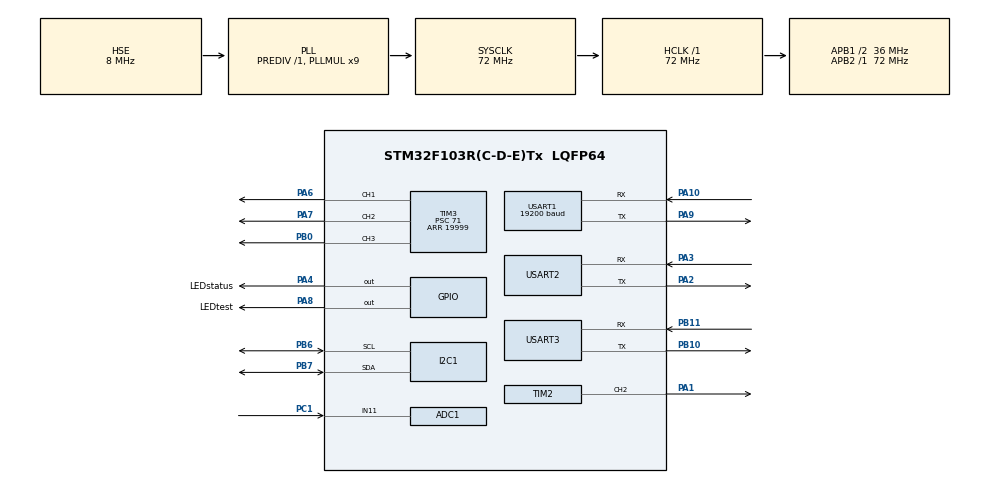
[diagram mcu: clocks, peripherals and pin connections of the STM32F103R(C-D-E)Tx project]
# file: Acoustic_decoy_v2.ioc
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ADC1.Channel-3\#ChannelRegularConversion=ADC_CHANNEL_11
ADC1.ExternalTrigConv=ADC_EXTERNALTRIGCONV_T3_TRGO
ADC1.NbrOfConversionFlag=1
ADC1.Rank-3\#ChannelRegularConversion=1
ADC1.SamplingTime-3\#ChannelRegularConversion=ADC_SAMPLETIME_55CYCLES_5
ADC1.master=1
Dma.Request0=USART2_RX
Dma.USART2_RX.0.Direction=DMA_PERIPH_TO_MEMORY
Dma.USART2_RX.0.Instance=DMA1_Channel6
Dma.USART2_RX.0.MemDataAlignment=DMA_MDATAALIGN_BYTE
Dma.USART2_RX.0.MemInc=DMA_MINC_ENABLE
Dma.USART2_RX.0.Mode=DMA_NORMAL
Dma.USART2_RX.0.PeriphDataAlignment=DMA_PDATAALIGN_BYTE
Dma.USART2_RX.0.PeriphInc=DMA_PINC_DISABLE
Dma.USART2_RX.0.Priority=DMA_PRIORITY_VERY_HIGH
Mcu.Family=STM32F1
Mcu.Name=STM32F103R(C-D-E)Tx
Mcu.Package=LQFP64
NVIC.ADC1_2_IRQn=true\:1\:0\:true\:false\:true\:true\:true\:true
NVIC.DMA1_Channel6_IRQn=true\:6\:0\:true\:false\:true\:false\:true\:true
NVIC.PriorityGroup=NVIC_PRIORITYGROUP_4
NVIC.TIM4_IRQn=true\:15\:0\:false\:false\:true\:false\:true\:true
NVIC.TIM5_IRQn=true\:7\:0\:true\:false\:true\:true\:true\:true
NVIC.TimeBase=TIM4_IRQn
NVIC.TimeBaseIP=TIM4
NVIC.USART1_IRQn=true\:6\:0\:true\:false\:true\:true\:true\:true
NVIC.USART2_IRQn=true\:6\:0\:true\:false\:true\:true\:true\:true
NVIC.USART3_IRQn=true\:0\:0\:true\:false\:true\:true\:true\:true
PA1.Signal=S_TIM2_CH2
PA10.Mode=Asynchronous
PA10.Signal=USART1_RX
PA13.Mode=Serial_Wire
PA13.Signal=SYS_JTMS-SWDIO
PA14.Mode=Serial_Wire
PA14.Signal=SYS_JTCK-SWCLK
PA2.Mode=Asynchronous
PA2.Signal=USART2_TX
PA3.Mode=Asynchronous
PA3.Signal=USART2_RX
PA4.GPIO_Label=LEDstatus
PA4.GPIO_ModeDefaultOutputPP=GPIO_MODE_OUTPUT_PP
PA4.PinState=GPIO_PIN_RESET
PA4.Signal=GPIO_Output
PA6.Signal=S_TIM3_CH1
PA7.Signal=S_TIM3_CH2
PA8.GPIO_Label=LEDtest
PA8.Signal=GPIO_Output
PA9.Mode=Asynchronous
PA9.Signal=USART1_TX
PB0.Signal=S_TIM3_CH3
PB10.Mode=Asynchronous
PB10.Signal=USART3_TX
PB11.Mode=Asynchronous
PB11.Signal=USART3_RX
PB6.Mode=I2C
PB6.Signal=I2C1_SCL
PB7.Mode=I2C
PB7.Signal=I2C1_SDA
PC1.Signal=ADCx_IN11
PD0-OSC_IN.Mode=HSE-External-Oscillator
PD0-OSC_IN.Signal=RCC_OSC_IN
PD1-OSC_OUT.Mode=HSE-External-Oscillator
PD1-OSC_OUT.Signal=RCC_OSC_OUT
ProjectManager.HeapSize=0x200
ProjectManager.StackSize=0x400
ProjectManager.TargetToolchain=CMake
RCC.ADCPresc=RCC_ADCPCLK2_DIV6
RCC.AHBFreq_Value=72000000
RCC.APB1CLKDivider=RCC_HCLK_DIV2
RCC.APB1Freq_Value=36000000
RCC.APB1TimFreq_Value=72000000
RCC.APB2Freq_Value=72000000
RCC.APB2TimFreq_Value=72000000
RCC.HCLKFreq_Value=72000000
RCC.PLLMUL=RCC_PLL_MUL9
RCC.PLLSourceVirtual=RCC_PLLSOURCE_HSE
RCC.SYSCLKFreq_VALUE=72000000
RCC.SYSCLKSource=RCC_SYSCLKSOURCE_PLLCLK
RCC.USBFreq_Value=72000000
SH.ADCx_IN11.0=ADC1_IN11,IN11
SH.S_TIM2_CH2.0=TIM2_CH2,PWM Generation2 CH2
SH.S_TIM3_CH1.0=TIM3_CH1,PWM Generation1 CH1
SH.S_TIM3_CH2.0=TIM3_CH2,PWM Generation2 CH2
SH.S_TIM3_CH3.0=TIM3_CH3,PWM Generation3 CH3
TIM2.Channel-PWM\ Generation2\ CH2=TIM_CHANNEL_2
TIM2.Period=19999
TIM2.Prescaler=71
TIM3.Channel-PWM\ Generation1\ CH1=TIM_CHANNEL_1
TIM3.Channel-PWM\ Generation2\ CH2=TIM_CHANNEL_2
TIM3.Channel-PWM\ Generation3\ CH3=TIM_CHANNEL_3
TIM3.Period=19999
TIM3.Prescaler=71
TIM3.TIM_MasterOutputTrigger=TIM_TRGO_UPDATE
TIM5.AutoReloadPreload=TIM_AUTORELOAD_PRELOAD_ENABLE
TIM5.Channel-Output\ Compare1\ No\ Output=TIM_CHANNEL_1
TIM5.Prescaler=71
USART1.BaudRate=19200
USART1.VirtualMode=VM_ASYNC
USART2.VirtualMode=VM_ASYNC
USART3.VirtualMode=VM_ASYNC
VP_SYS_VS_tim4.Mode=TIM4
VP_TIM2_VS_ClockSourceINT.Mode=Internal
VP_TIM3_VS_ClockSourceINT.Mode=Internal
VP_TIM5_VS_no_output1.Mode=Output Compare1 No Output
board=custom

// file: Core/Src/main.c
/* USER CODE BEGIN Header */
/**
  ******************************************************************************
  * @file           : main.c
  * @brief          : Main program body
  ******************************************************************************
  * @attention
  *
  * Copyright (c) 2025 STMicroelectronics.
  * All rights reserved.
  *
  * This software is licensed under terms that can be found in the LICENSE file
  * in the root directory of this software component.
  * If no LICENSE file comes with this software, it is provided AS-IS.
  *
  ******************************************************************************
  */
/* USER CODE END Header */
#include "main.h"
#include "adc.h"
#include "dma.h"
#include "i2c.h"
#include "tim.h"
#include "usart.h"
#include "gpio.h"

/* USER CODE BEGIN Includes */
#include "im948_CMD.h"
#include "bsp_usart.h"
#include <stdint.h>
#include <stdio.h>
#include "bsp_io.h"
#include "baro_adc.h"
#include "valve_ctrl.h"
#include "control_config.h"

// FreeRTOS Includes
#include "FreeRTOS.h"
#include "task.h"
#include "control_tasks.h"
// Control framework
#include "control_loop.h"
/* USER CODE END Includes */

/* USER CODE BEGIN PV */
volatile uint8_t g_control_loop_enabled = 1; // 控制循环使能标志，默认开启
extern volatile uint32_t ulHighFrequencyTimerTicks;
/* USER CODE END PV */

void SystemClock_Config(void);

int main(void)
{

  /* MCU Configuration--------------------------------------------------------*/

  /* Reset of all peripherals, Initializes the Flash interface and the Systick. */
  HAL_Init();

  /* Configure the system clock */
  SystemClock_Config();

  /* Initialize all configured peripherals */
  MX_GPIO_Init();
  MX_DMA_Init();
  MX_TIM2_Init();
  MX_USART1_UART_Init();
  MX_USART2_UART_Init();
  MX_USART3_UART_Init();
  MX_TIM3_Init();
  MX_I2C1_Init();
  MX_ADC1_Init();
  MX_TIM5_Init();
  /* USER CODE BEGIN 2 */

  printf("Acoustic Decoy Initializing . . .\r\n");

  // 初始化传感器与电机控制的运行期默认值
  SensorSystem_Init();

  // //打开串口中断接收，UART3空置，用于后续扩展与linux上位机通讯
  HAL_UART_Receive_IT(&huart1, &rx_byte_debug, 1); //Debug PA9,PA10
  // // HAL_UART_Receive_IT(&huart3, &uart3_rx_byte, 1);// 空置串口3 PB10,PB11
  HAL_TIM_PWM_Start(&htim3, TIM_CHANNEL_3); // 启动PWM输出 TIM3_CH3 PB0 power
  HAL_TIM_PWM_Start(&htim3, TIM_CHANNEL_1); // 启动PWM输出 TIM3_CH1 PA6 fairing release
  HAL_TIM_PWM_Start(&htim3, TIM_CHANNEL_2); // 启动PWM输出 TIM3_CH2 PA7 valve control

  // // 启动气压 ADC 外部触发采样（TIM3 TRGO）
  BaroADC_Init(&hadc1);

  // 延时一下让传感器上电准备完毕
  HAL_Delay(1000); // 延时1秒

  power_on(); // 打开电源 12V
  MS5837_SetFluidDensity(&MS5837_info_t, 1000.0f); // 设置海水密度为1000 kg/m³
  motorInit(); // 初始化电调
  imuInit(); // 初始化IMU
  HAL_Delay(100); // 等待IMU初始化完成
  MS5837_Init(&hi2c1,&MS5837_info_t, 50); // 初始化MS5837压力传感器

  // // Initialize control loop modules
  // ControlLoop_Init();
  // uint32_t last_ctrl_ms = HAL_GetTick();

  printf("Starting FreeRTOS scheduler...\r\n");

  ControlTasks_Init();

  // 配置运行时统计定时器（必须在调度器启动前调用）
  // FreeRTOS会在启动时自动调用portCONFIGURE_TIMER_FOR_RUN_TIME_STATS()宏
  vTaskStartScheduler();

  // 永远不会到达这里5
  /* USER CODE END 2 */

  /* Infinite loop */
  /* USER CODE BEGIN WHILE */
  while (1)
  {
  HAL_Delay(1000);
    /* USER CODE END WHILE */

  }
}

void SystemClock_Config(void)
{
  RCC_OscInitTypeDef RCC_OscInitStruct = {0};
  RCC_ClkInitTypeDef RCC_ClkInitStruct = {0};
  RCC_PeriphCLKInitTypeDef PeriphClkInit = {0};

  /** Initializes the RCC Oscillators according to the specified parameters
  * in the RCC_OscInitTypeDef structure.
  */
  RCC_OscInitStruct.OscillatorType = RCC_OSCILLATORTYPE_HSE;
  RCC_OscInitStruct.HSEState = RCC_HSE_ON;
  RCC_OscInitStruct.HSEPredivValue = RCC_HSE_PREDIV_DIV1;
  RCC_OscInitStruct.HSIState = RCC_HSI_ON;
  RCC_OscInitStruct.PLL.PLLState = RCC_PLL_ON;
  RCC_OscInitStruct.PLL.PLLSource = RCC_PLLSOURCE_HSE;
  RCC_OscInitStruct.PLL.PLLMUL = RCC_PLL_MUL9;
  if (HAL_RCC_OscConfig(&RCC_OscInitStruct) != HAL_OK)
  {
    Error_Handler();
  }

  /** Initializes the CPU, AHB and APB buses clocks
  */
  RCC_ClkInitStruct.ClockType = RCC_CLOCKTYPE_HCLK|RCC_CLOCKTYPE_SYSCLK
                              |RCC_CLOCKTYPE_PCLK1|RCC_CLOCKTYPE_PCLK2;
  RCC_ClkInitStruct.SYSCLKSource = RCC_SYSCLKSOURCE_PLLCLK;
  RCC_ClkInitStruct.AHBCLKDivider = RCC_SYSCLK_DIV1;
  RCC_ClkInitStruct.APB1CLKDivider = RCC_HCLK_DIV2;
  RCC_ClkInitStruct.APB2CLKDivider = RCC_HCLK_DIV1;

  if (HAL_RCC_ClockConfig(&RCC_ClkInitStruct, FLASH_LATENCY_2) != HAL_OK)
  {
    Error_Handler();
  }
  PeriphClkInit.PeriphClockSelection = RCC_PERIPHCLK_ADC;
  PeriphClkInit.AdcClockSelection = RCC_ADCPCLK2_DIV6;
  if (HAL_RCCEx_PeriphCLKConfig(&PeriphClkInit) != HAL_OK)
  {
    Error_Handler();
  }
}

void HAL_TIM_PeriodElapsedCallback(TIM_HandleTypeDef *htim)
{
  if (htim->Instance == TIM4)
  {
    HAL_IncTick();
  }
  /* USER CODE BEGIN Callback 1 */
    if (htim->Instance == TIM5)
    {
        /* TIM5溢出，递增高16位计数器 */
        ulHighFrequencyTimerTicks++;
    }
  /* USER CODE END Callback 1 */
}

void Error_Handler(void)
{
  __disable_irq();
  while (1)
  {
  }
}
